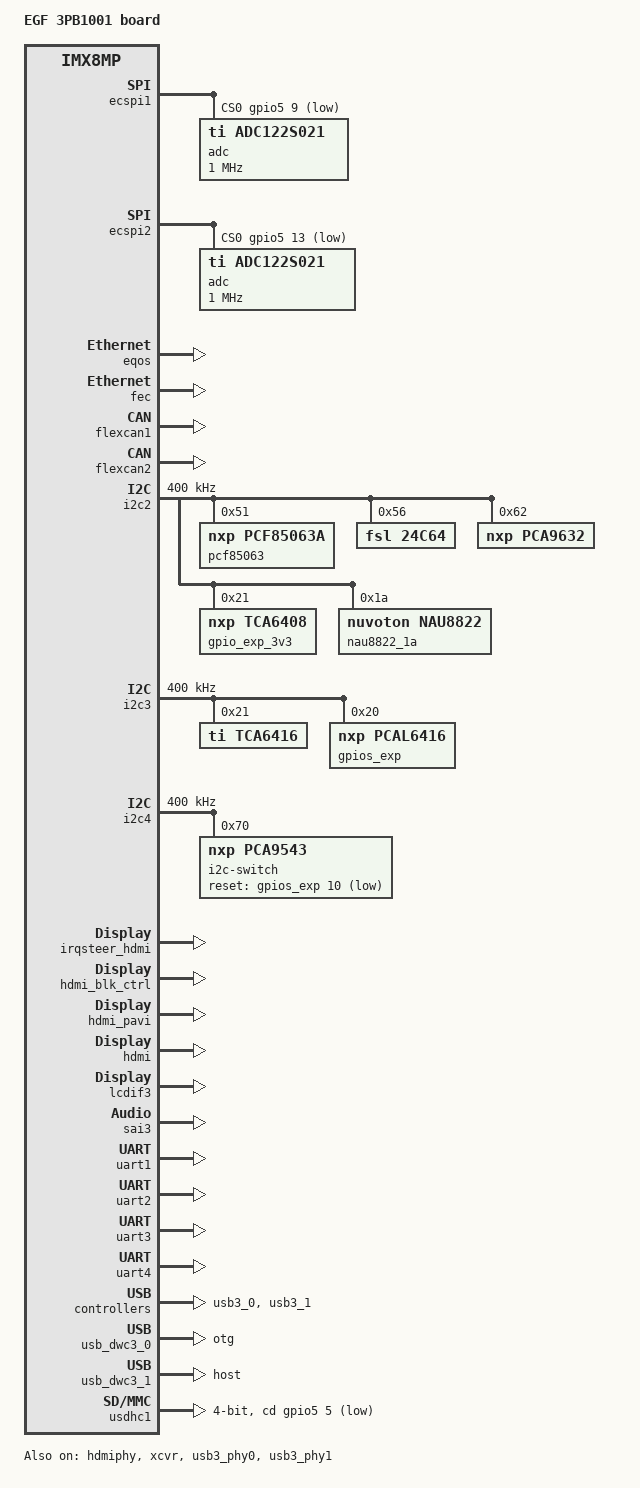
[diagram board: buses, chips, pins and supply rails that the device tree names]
// SPDX-License-Identifier: (GPL-2.0+ OR MIT)
/*
 * Copyright 2019 NXP
 */

 /dts-v1/;

 #include "imx8mp-egf-3sm1009.dtsi"
 
 / {
	 model = "EGF 3PB1001 board";
	 compatible =  "fsl,imx8mp-evk","fsl,imx8mp";

// 	reg_audio_pwr: regulator-audio-pwr {
// 		compatible = "regulator-fixed";
// 		regulator-name = "audio-pwr";
// 		regulator-min-microvolt = <3300000>;
// 		regulator-max-microvolt = <3300000>;
// 		gpio = <&gpio4 29 GPIO_ACTIVE_HIGH>;
// 		enable-active-high;
// 		regulator-always-on;
// 	};

// 	bt_sco_codec: bt_sco_codec {
// 		#sound-dai-cells = <1>;
// 		compatible = "linux,bt-sco";
// 	};

sound-hdmi {
	status = "okay";
};

sound-hdmi {
	compatible = "fsl,imx-audio-hdmi";
	model = "audio-hdmi";
	audio-cpu = <&aud2htx>;
	hdmi-out;
	constraint-rate = <44100>,
			<88200>,
			<176400>,
			<32000>,
			<48000>,
			<96000>,
			<192000>;
	status = "disabled";
};



sound-micfil {
	compatible = "fsl,imx-audio-micfil";
	model = "imx-audio-micfil";
	cpu-dai = <&micfil>;
};

sound-xcvr {
	compatible = "fsl,imx-audio-xcvr";
	model = "imx-audio-xcvr";
	cpu-dai = <&xcvr>;
};


sound {
	compatible = "simple-audio-card";
	simple-audio-card,bitclock-master = <&codec_dai>;
	simple-audio-card,format = "i2s";
	simple-audio-card,frame-master = <&codec_dai>;
	simple-audio-card,mclk-fs = <256>;
	simple-audio-card,name = "imx8mp-nau8822";
	simple-audio-card,routing =
		"Headphones", "LHP",
		"Headphones", "RHP",
		"Speaker", "LSPK",
		"Speaker", "RSPK",
		"Line Out", "AUXOUT1",
		"Line Out", "AUXOUT2",
		"LAUX", "Line In",
		"RAUX", "Line In",
		"LMICP", "Mic In",
		"RMICP", "Mic In";
	simple-audio-card,widgets =
		"Headphones", "Headphones",
		"Line Out", "Line Out",
		"Speaker", "Speaker",
		"Microphone", "Mic In",
		"Line", "Line In";

	codec_dai: simple-audio-card,codec {
		sound-dai = <&nau8822_1a>;
		clocks = <&audio_blk_ctrl IMX8MP_CLK_AUDIOMIX_SAI3_MCLK1>;
	};

	simple-audio-card,cpu {
		sound-dai = <&sai3>;
	};
};

// 	sound-hdmi {
// 		compatible = "fsl,imx-audio-hdmi";
// 		model = "audio-hdmi";
// 		audio-cpu = <&aud2htx>;
// 		hdmi-out;
// 		constraint-rate = <44100>,
// 				<88200>,
// 				<176400>,
// 				<32000>,
// 				<48000>,
// 				<96000>,
// 				<192000>;
// 		status = "okay";
// 	};

// 	sound-wm8960 {
// 		compatible = "fsl,imx-audio-wm8960";
// 		model = "wm8960-audio";
// 		audio-cpu = <&sai3>;
// 		audio-codec = <&codec>;
// 		audio-asrc = <&easrc>;
// 		hp-det-gpio = <&gpio4 28 0>;
// 		audio-routing =
// 			"Headphone Jack", "HP_L",
// 			"Headphone Jack", "HP_R",
// 			"Ext Spk", "SPK_LP",
// 			"Ext Spk", "SPK_LN",
// 			"Ext Spk", "SPK_RP",
// 			"Ext Spk", "SPK_RN",
// 			"LINPUT1", "Mic Jack",
// 			"LINPUT3", "Mic Jack",
// 			"Mic Jack", "MICB";
// 	};

// 	sound-micfil {
// 		compatible = "fsl,imx-audio-card";
// 		model = "micfil-audio";
// 		pri-dai-link {
// 			link-name = "micfil hifi";
// 			format = "i2s";
// 			cpu {
// 				sound-dai = <&micfil>;
// 			};
// 		};
// 	};

// 	sound-xcvr {
// 		compatible = "fsl,imx-audio-card";
// 		model = "imx-audio-xcvr";
// 		pri-dai-link {
// 			link-name = "XCVR PCM";
// 			cpu {
// 				sound-dai = <&xcvr>;
// 			};
// 		};
// 	};


// 	lvds_backlight: lvds_backlight {
// 		compatible = "pwm-backlight";
// 		pwms = <&pwm2 0 100000 0>;
// 		status = "okay";

// 		brightness-levels = < 0  1  2  3  4  5  6  7  8  9
// 				     10 11 12 13 14 15 16 17 18 19
// 				     20 21 22 23 24 25 26 27 28 29
// 				     30 31 32 33 34 35 36 37 38 39
// 				     40 41 42 43 44 45 46 47 48 49
// 				     50 51 52 53 54 55 56 57 58 59
// 				     60 61 62 63 64 65 66 67 68 69
// 				     70 71 72 73 74 75 76 77 78 79
// 				     80 81 82 83 84 85 86 87 88 89
// 				     90 91 92 93 94 95 96 97 98 99
// 				    100>;
// 		default-brightness-level = <80>;
// 	};

 };


 &ecspi1 {
	#address-cells = <1>;
	#size-cells = <0>;
	fsl,spi-num-chipselects = <1>;
	pinctrl-names = "default";
	pinctrl-0 = <&pinctrl_ecspi1 &pinctrl_ecspi1_cs>;
	cs-gpios = <&gpio5 9 GPIO_ACTIVE_LOW>;
	status = "okay";

    adc@0 {
		compatible = "ti,adc122s021";
		reg = <0>;
		spi-max-frequency = <1000000>;
		#io-channel-cells = <1>;
    };
};

 &ecspi2 {
	#address-cells = <1>;
	#size-cells = <0>;
	fsl,spi-num-chipselects = <1>;
	pinctrl-names = "default";
	pinctrl-0 = <&pinctrl_ecspi2 &pinctrl_ecspi2_cs>;
	cs-gpios = <&gpio5 13 GPIO_ACTIVE_LOW>;
	status = "okay";

    adc@0 {
		compatible = "ti,adc122s021";
		reg = <0>;
		spi-max-frequency = <1000000>;
		#io-channel-cells = <1>;
    };
};



 &eqos {
	status = "okay";
};


&fec {
	status = "okay";
};



&flexcan1 {
	pinctrl-names = "default";
	pinctrl-0 = <&pinctrl_flexcan1>;
	status = "okay";
};

&flexcan2 {
	pinctrl-names = "default";
	pinctrl-0 = <&pinctrl_flexcan2>;
	status = "okay";
};

&i2c2 {
	clock-frequency = <400000>;
	pinctrl-names = "default";
	pinctrl-0 = <&pinctrl_i2c2>;
	status = "okay";

		// RTC carrier
		pcf85063: rtc@51 {
			compatible = "nxp,pcf85063a";
			reg = <0x51>;
			quartz-load-femtofarads = <7000>;
		};
	
		// EEPROM carrier
		24c64@56 {
			compatible = "fsl,24c64";
			pinctrl-names = "default";
			pinctrl-0 = <&pinctrl_eeprom_carrier>;
			reg = <0x56>;
			pagesize = <32>;
		};
	
	
		pca9632@62 {
			compatible = "nxp,pca9632";
			#address-cells = <1>;
			#size-cells = <0>;
			nxp,totem-pole;
			nxp,inverted-out;
			reg = <0x62>;
	
	
			mipi_dsi_led: dsi0@0 {
				reg = <0>;
				linux,default-trigger = "none";
			};
	
			lvds0_bl_led: dis0@1 {
				reg = <1>;
				linux,default-trigger = "none";
			};
		};
		
		gpio_exp_3v3: gpio@21 {
			compatible = "nxp,tca6408";
			reg = <0x21>;
			gpio-controller;
			#gpio-cells = <2>;
		};
		
		nau8822_1a: nau8822@1a {
			compatible = "nuvoton,nau8822";
			reg = <0x1a>;
			#sound-dai-cells = <0>;
		};
};

&i2c3 {
	clock-frequency = <400000>;
	pinctrl-names = "default";
	pinctrl-0 = <&pinctrl_i2c3>;
	status = "okay";

	tca6416: gpio@21 {
		compatible = "ti,tca6416";
		reg = <0x21>;
		gpio-controller;
		#gpio-cells = <2>;
	};
	
	gpios_exp: gpio@20 {	
		compatible = "nxp,pcal6416";
		#address-cells = <1>;
		#size-cells = <0>;
		gpio-controller;
		#gpio-cells = <2>;
		reg = <0x20>;
		status = "okay";
	};
};


&i2c4 {
	clock-frequency = <400000>;
	pinctrl-names = "default";
	pinctrl-0 = <&pinctrl_i2c4>;
	status = "okay"; 

	i2c-switch@70 {
		compatible = "nxp,pca9543";
		#address-cells = <1>;
		#size-cells = <0>;
		reset-gpios = <&gpios_exp 10 GPIO_ACTIVE_LOW>;
		reg = <0x70>;
		
	    i2c@0 {
			#address-cells = <1>;
			#size-cells = <0>;
			reg = <0>;
			

		};
		
		i2c@1 {
			#address-cells = <1>;
			#size-cells = <0>;
			reg = <1>;
		};
		
	};
	
};


&irqsteer_hdmi {
	status = "okay";
};

&hdmi_blk_ctrl {
	status = "okay";
};

&hdmi_pavi {
	status = "okay";
};

&hdmi {
	status = "okay";
};

&hdmiphy {
	status = "okay";
};

&lcdif1 {
	status = "disabled";
};

&lcdif2 {
	status = "disabled";
};

&lcdif3 {
	status = "okay";

	thres-low  = <1 2>;             /* (FIFO * 1 / 2) */
	thres-high = <3 4>;             /* (FIFO * 3 / 4) */
};


// &sai2 {
// 	#sound-dai-cells = <0>;
// 	pinctrl-names = "default";
// 	pinctrl-0 = <&pinctrl_sai2>;
// 	assigned-clocks = <&clk IMX8MP_CLK_SAI2>;
// 	assigned-clock-parents = <&clk IMX8MP_AUDIO_PLL1_OUT>;
// 	assigned-clock-rates = <12288000>;
// 	fsl,sai-mclk-direction-output;
// 	status = "okay";
// };

// &snvs_pwrkey {
// 	status = "okay";
// };

// &easrc {
// 	fsl,asrc-rate  = <48000>;
// 	status = "okay";
// };

// &micfil {
// 	#sound-dai-cells = <0>;
// 	pinctrl-names = "default";
// 	pinctrl-0 = <&pinctrl_pdm>;
// 	assigned-clocks = <&clk IMX8MP_CLK_PDM>;
// 	assigned-clock-parents = <&clk IMX8MP_AUDIO_PLL1_OUT>;
// 	assigned-clock-rates = <196608000>;
// 	status = "okay";
// };

&sai3 {
	#sound-dai-cells = <0>;
	pinctrl-names = "default";
	pinctrl-0 = <&pinctrl_sai3>;
	assigned-clocks = <&clk IMX8MP_CLK_SAI3>;
	assigned-clock-parents = <&clk IMX8MP_AUDIO_PLL1_OUT>;
	assigned-clock-rates = <12288000>;
	clocks = <&audio_blk_ctrl IMX8MP_CLK_AUDIOMIX_SAI3_IPG>, <&clk IMX8MP_CLK_DUMMY>,
		 <&audio_blk_ctrl IMX8MP_CLK_AUDIOMIX_SAI3_MCLK1>, <&clk IMX8MP_CLK_DUMMY>,
		 <&clk IMX8MP_CLK_DUMMY>;
	clock-names = "bus", "mclk0", "mclk1", "mclk2", "mclk3";
	fsl,sai-mclk-direction-output;
	status = "okay";
};


&xcvr {
	#sound-dai-cells = <0>;
	status = "okay";
};

&uart1 { 
	pinctrl-names = "default";
	pinctrl-0 = <&pinctrl_uart1>;
	assigned-clocks = <&clk IMX8MP_CLK_UART1>;
	assigned-clock-parents = <&clk IMX8MP_SYS_PLL1_80M>;
	uart-has-rtscts;
	status = "okay";
};


&uart2 {
	/* console */
	pinctrl-names = "default";
	pinctrl-0 = <&pinctrl_uart2>;
	status = "okay";
};

&uart3 {
	pinctrl-names = "default";
	pinctrl-0 = <&pinctrl_uart3>;
	assigned-clocks = <&clk IMX8MP_CLK_UART3>;
	assigned-clock-parents = <&clk IMX8MP_SYS_PLL1_80M>;
	uart-has-rtscts;
	status = "okay";
};

&uart4 {
	pinctrl-names = "default";
	pinctrl-0 = <&pinctrl_uart4>;
	assigned-clocks = <&clk IMX8MP_CLK_UART4>;
	assigned-clock-parents = <&clk IMX8MP_SYS_PLL1_80M>;
	status = "okay";
};


&sdma2 {
	status = "okay";
};



&usb3_phy0 {
	fsl,phy-tx-vref-tune = <0xe>;
	fsl,phy-tx-preemp-amp-tune = <3>;
	fsl,phy-tx-vboost-level = <5>;
	fsl,phy-comp-dis-tune = <7>;
	fsl,pcs-tx-deemph-3p5db = <0x21>;
	fsl,phy-pcs-tx-swing-full = <0x7f>;
	status = "okay";
};

&usb3_0 {
	status = "okay";
};

&usb_dwc3_0 {
	dr_mode = "otg";
	hnp-disable;
	srp-disable;
	adp-disable;
	usb-role-switch;
	role-switch-default-mode = "none";
	snps,dis-u1-entry-quirk;
	snps,dis-u2-entry-quirk;
	status = "okay";
};

&usb3_phy1 {
	fsl,phy-tx-preemp-amp-tune = <3>;
	fsl,phy-tx-vref-tune = <0xb>;
	status = "okay";
};

&usb3_1 {
	status = "okay";
};

&usb_dwc3_1 {
	/*vbus-supply = <&reg_usb_vbus>;*/
	dr_mode = "host";
	status = "okay";
};


&usdhc1 {
	assigned-clocks = <&clk IMX8MP_CLK_USDHC1>;
	assigned-clock-rates = <400000000>;
	pinctrl-names = "default", "state_100mhz", "state_200mhz";
	pinctrl-0 = <&pinctrl_usdhc1>, <&pinctrl_usdhc1_gpio>;
	pinctrl-1 = <&pinctrl_usdhc1_100mhz>, <&pinctrl_usdhc1_gpio>;
	pinctrl-2 = <&pinctrl_usdhc1_200mhz>, <&pinctrl_usdhc1_gpio>;
	cd-gpios = <&gpio5 5 GPIO_ACTIVE_LOW>;
	/*vmmc-supply = <&reg_usdhc2_vmmc>;*/
	bus-width = <4>;
	status = "okay";
};


&iomuxc {
	pinctrl-names = "default";
	pinctrl-0 = <&pinctrl_hog>;


	pinctrl_flexcan1: flexcan1grp {
		fsl,pins = <
            MX8MP_IOMUXC_SAI5_RXD1__CAN1_TX          0x154
			MX8MP_IOMUXC_SAI5_RXD2__CAN1_RX          0x154
		>;
	};

	pinctrl_flexcan2: flexcan2grp {
		fsl,pins = <
			MX8MP_IOMUXC_SAI5_MCLK__CAN2_RX         0x154
			MX8MP_IOMUXC_SAI5_RXD3__CAN2_TX         0x154
		>;
	};





    pinctrl_uart1: uart1grp {
		fsl,pins = <
			MX8MP_IOMUXC_UART1_RXD__UART1_DCE_RX	0x140
			MX8MP_IOMUXC_UART1_TXD__UART1_DCE_TX	0x140
            MX8MP_IOMUXC_UART3_RXD__UART1_DCE_CTS   0x140
            MX8MP_IOMUXC_UART3_TXD__UART1_DCE_RTS   0x140
		>;
	};


	pinctrl_uart2: uart2grp {
		fsl,pins = <
			MX8MP_IOMUXC_UART2_RXD__UART2_DCE_RX	0x49
			MX8MP_IOMUXC_UART2_TXD__UART2_DCE_TX	0x49
		>;
	};

	pinctrl_uart3: uart3grp {
		fsl,pins = <
			MX8MP_IOMUXC_UART3_RXD__UART3_DCE_RX	0x49
			MX8MP_IOMUXC_UART3_TXD__UART3_DCE_TX	0x49
		>;
	};
	
	pinctrl_uart4: uart4grp {
		fsl,pins = <
			MX8MP_IOMUXC_UART4_RXD__UART4_DCE_RX	0x49
			MX8MP_IOMUXC_UART4_TXD__UART4_DCE_TX	0x49
		>;
	};

	pinctrl_ecspi2: ecspi2grp {
		fsl,pins = <
			MX8MP_IOMUXC_ECSPI2_SCLK__ECSPI2_SCLK		0x82
			MX8MP_IOMUXC_ECSPI2_MOSI__ECSPI2_MOSI		0x82
			MX8MP_IOMUXC_ECSPI2_MISO__ECSPI2_MISO		0x82
		>;
	};

	pinctrl_ecspi2_cs: ecspi2cs {
		fsl,pins = <
			MX8MP_IOMUXC_ECSPI2_SS0__GPIO5_IO13		0x40000
		>;
	};


	pinctrl_ecspi1: ecspi1grp {
		fsl,pins = <
			MX8MP_IOMUXC_ECSPI1_SCLK__ECSPI1_SCLK		0x82
			MX8MP_IOMUXC_ECSPI1_MOSI__ECSPI1_MOSI		0x82
			MX8MP_IOMUXC_ECSPI1_MISO__ECSPI1_MISO		0x82
		>;
	};

	pinctrl_ecspi1_cs: ecspi1cs {
		fsl,pins = <
		MX8MP_IOMUXC_ECSPI1_SS0__GPIO5_IO09		0x40000
		>;
	};



// 	pinctrl_sai2: sai2grp {
// 		fsl,pins = <
// 			MX8MP_IOMUXC_SAI2_TXC__AUDIOMIX_SAI2_TX_BCLK	0xd6
// 			MX8MP_IOMUXC_SAI2_TXFS__AUDIOMIX_SAI2_TX_SYNC	0xd6
// 			MX8MP_IOMUXC_SAI2_TXD0__AUDIOMIX_SAI2_TX_DATA00	0xd6
// 			MX8MP_IOMUXC_SAI2_RXD0__AUDIOMIX_SAI2_RX_DATA00	0xd6
// 		>;
// 	};

// 	pinctrl_pdm: pdmgrp {
// 		fsl,pins = <
// 			MX8MP_IOMUXC_SAI5_RXC__AUDIOMIX_PDM_CLK		0xd6
// 			MX8MP_IOMUXC_SAI5_RXD0__AUDIOMIX_PDM_BIT_STREAM00	0xd6
// 			MX8MP_IOMUXC_SAI5_RXD1__AUDIOMIX_PDM_BIT_STREAM01	0xd6
// 			MX8MP_IOMUXC_SAI5_RXD2__AUDIOMIX_PDM_BIT_STREAM02	0xd6
// 			MX8MP_IOMUXC_SAI5_RXD3__AUDIOMIX_PDM_BIT_STREAM03	0xd6
// 		>;
// 	};

	pinctrl_sai3: sai3grp {
		fsl,pins = <
			MX8MP_IOMUXC_SAI3_TXFS__AUDIOMIX_SAI3_TX_SYNC	0xd6
			MX8MP_IOMUXC_SAI3_TXC__AUDIOMIX_SAI3_TX_BCLK	0xd6
			MX8MP_IOMUXC_SAI3_RXD__AUDIOMIX_SAI3_RX_DATA00	0xd6
			MX8MP_IOMUXC_SAI3_TXD__AUDIOMIX_SAI3_TX_DATA00	0xd6
			MX8MP_IOMUXC_SAI3_MCLK__AUDIOMIX_SAI3_MCLK	0xd6
		>;
	};


	pinctrl_usdhc1: usdhc1grp {
		fsl,pins = <
            MX8MP_IOMUXC_SD1_CLK__USDHC1_CLK	0x190
			MX8MP_IOMUXC_SD1_CMD__USDHC1_CMD	0x1d0
			MX8MP_IOMUXC_SD1_DATA0__USDHC1_DATA0	0x1d0
			MX8MP_IOMUXC_SD1_DATA1__USDHC1_DATA1	0x1d0
			MX8MP_IOMUXC_SD1_DATA2__USDHC1_DATA2	0x1d0
			MX8MP_IOMUXC_SD1_DATA3__USDHC1_DATA3	0x1d0
			MX8MP_IOMUXC_GPIO1_IO03__USDHC1_VSELECT	0xc0
		>;
	};

	pinctrl_usdhc1_100mhz: usdhc1-100mhzgrp {
		fsl,pins = <
			MX8MP_IOMUXC_SD1_CLK__USDHC1_CLK	0x194
			MX8MP_IOMUXC_SD1_CMD__USDHC1_CMD	0x1d4
			MX8MP_IOMUXC_SD1_DATA0__USDHC1_DATA0	0x1d4
			MX8MP_IOMUXC_SD1_DATA1__USDHC1_DATA1	0x1d4
			MX8MP_IOMUXC_SD1_DATA2__USDHC1_DATA2	0x1d4
			MX8MP_IOMUXC_SD1_DATA3__USDHC1_DATA3	0x1d4
			MX8MP_IOMUXC_GPIO1_IO03__USDHC1_VSELECT 0xc0
		>;
	};

	pinctrl_usdhc1_200mhz: usdhc1-200mhzgrp {
		fsl,pins = <
			MX8MP_IOMUXC_SD1_CLK__USDHC1_CLK	0x196
			MX8MP_IOMUXC_SD1_CMD__USDHC1_CMD	0x1d6
			MX8MP_IOMUXC_SD1_DATA0__USDHC1_DATA0	0x1d6
			MX8MP_IOMUXC_SD1_DATA1__USDHC1_DATA1	0x1d6
			MX8MP_IOMUXC_SD1_DATA2__USDHC1_DATA2	0x1d6
			MX8MP_IOMUXC_SD1_DATA3__USDHC1_DATA3	0x1d6
			MX8MP_IOMUXC_GPIO1_IO03__USDHC1_VSELECT 0xc0
		>;
	};

	pinctrl_usdhc1_gpio: usdhc1gpiogrp {
		fsl,pins = <
			MX8MP_IOMUXC_SPDIF_EXT_CLK__GPIO5_IO05	0x1c4
		>;
	};
};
